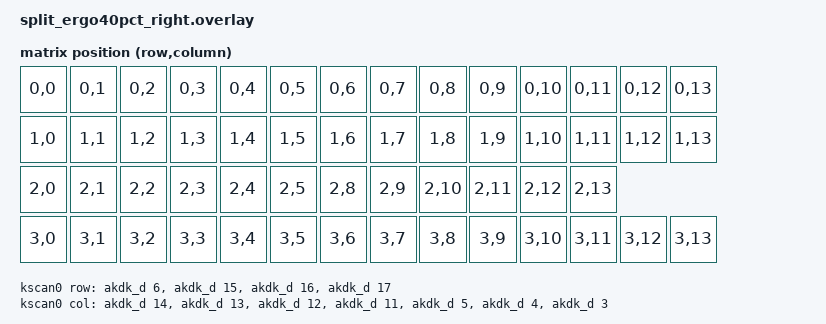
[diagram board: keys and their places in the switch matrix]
#include <input/processors.dtsi>
#include <behaviors/input_gestures_accel.dtsi>
#include <zephyr/dt-bindings/input/input-event-codes.h>
#include <dt-bindings/zmk/matrix_transform.h>
#include <dt-bindings/zmk/input_transform.h>
#include "layouts.dtsi"
#include <input/processors.dtsi>

/ {
    chosen {
        zmk,physical-layout = &physical_layout0;
    };

    default_transform: keymap_transform_0 {
        compatible = "zmk,matrix-transform";
        columns = <14>;
        rows = <4>;
        map = <
            RC(0,0) RC(0,1) RC(0,2) RC(0,3) RC(0,4) RC(0,5) RC(0,6) RC(0,7) RC(0,8) RC(0,9) RC(0,10) RC(0,11) RC(0,12) RC(0,13)
			RC(1,0) RC(1,1) RC(1,2) RC(1,3) RC(1,4) RC(1,5) RC(1,6) RC(1,7) RC(1,8) RC(1,9) RC(1,10) RC(1,11) RC(1,12) RC(1,13)
			RC(2,0) RC(2,1) RC(2,2) RC(2,3) RC(2,4) RC(2,5) RC(2,8) RC(2,9) RC(2,10) RC(2,11) RC(2,12) RC(2,13)
			RC(3,0) RC(3,1) RC(3,2) RC(3,3) RC(3,4) RC(3,5) RC(3,6) RC(3,7) RC(3,8) RC(3,9) RC(3,10) RC(3,11) RC(3,12) RC(3,13)
        >;
		col-offset = <7>;
    };

    kscan0: kscan {
        compatible = "zmk,kscan-gpio-matrix";
        wakeup-source;

        diode-direction = "col2row";
        row-gpios
            = <&akdk_d 6 (GPIO_ACTIVE_HIGH | GPIO_PULL_DOWN)>
			,<&akdk_d 15 (GPIO_ACTIVE_HIGH | GPIO_PULL_DOWN)>
			,<&akdk_d 16 (GPIO_ACTIVE_HIGH | GPIO_PULL_DOWN)>
			,<&akdk_d 17 (GPIO_ACTIVE_HIGH | GPIO_PULL_DOWN)>
            ;
        col-gpios
            = <&akdk_d 14 GPIO_ACTIVE_HIGH>
			,<&akdk_d 13 GPIO_ACTIVE_HIGH>
			,<&akdk_d 12 GPIO_ACTIVE_HIGH>
			,<&akdk_d 11 GPIO_ACTIVE_HIGH>
			,<&akdk_d 5 GPIO_ACTIVE_HIGH>
			,<&akdk_d 4 GPIO_ACTIVE_HIGH>
			,<&akdk_d 3 GPIO_ACTIVE_HIGH>
            ;
    };

	trackball_listener: trackball_listener {
        compatible = "zmk,input-listener";
        status = "okay";
        device = <&trackball>;

        // 変更後: トラボ操作のたびに「レイヤー1」を2秒(2000ms)だけ有効化
        input-processors = <&zip_temp_layer 1 2000>,
                           <&pointer_accel>,
                           <&zip_xy_transform (INPUT_TRANSFORM_XY_SWAP | INPUT_TRANSFORM_X_INVERT)>;
    };

};

&physical_layout0 {
    kscan = <&kscan0>;
    transform = <&default_transform>;
};

// Track ball settings spi

&pinctrl {
    spi0_default: spi0_default {
        group1 {
            psels = <NRF_PSEL(SPIM_SCK, 0, 12)>,
                <NRF_PSEL(SPIM_MOSI, 1, 9)>,
                <NRF_PSEL(SPIM_MISO, 1, 9)>;
        };
    };

    spi0_sleep: spi0_sleep {
        group1 {
            psels = <NRF_PSEL(SPIM_SCK, 0, 12)>,
                <NRF_PSEL(SPIM_MOSI, 1, 9)>,
                <NRF_PSEL(SPIM_MISO, 1, 9)>;
            low-power-enable;
        };
    };
};

&spi0 {
    status = "okay";
    compatible = "nordic,nrf-spim";
    pinctrl-0 = <&spi0_default>;
    pinctrl-1 = <&spi0_sleep>;
    pinctrl-names = "default", "sleep";
    cs-gpios = <&gpio0 13 GPIO_ACTIVE_LOW>;

    trackball: trackball@0 {
        status = "okay";
        compatible = "pixart,paw3222";
        reg = <0>;
        spi-max-frequency = <2000000>;
        irq-gpios = <&gpio0 15 GPIO_ACTIVE_LOW>;

        rotation = <90>;

        snipe-layers = <5 8 9>;
        res-cpi = <1000>;        // 通常時のCPI
        snipe-cpi = <200>;       // スナイプ時のCPI（1/5に削減）
        snipe-divisor = <2>;     // さらに座標値を1/2に削減

        scroll-layers = <6 7 8 9>;
        scroll-horizontal-layers = <7 9>;
    };
};

&trackball_listener {
    status = "okay";
    device = <&trackball>;
};

// pointer acceleration

&pointer_accel {
    status = "okay";
    compatible = "zmk,input-processor-acceleration";
    input-type = <INPUT_EV_REL>;
    codes = <INPUT_REL_X INPUT_REL_Y>;

};
